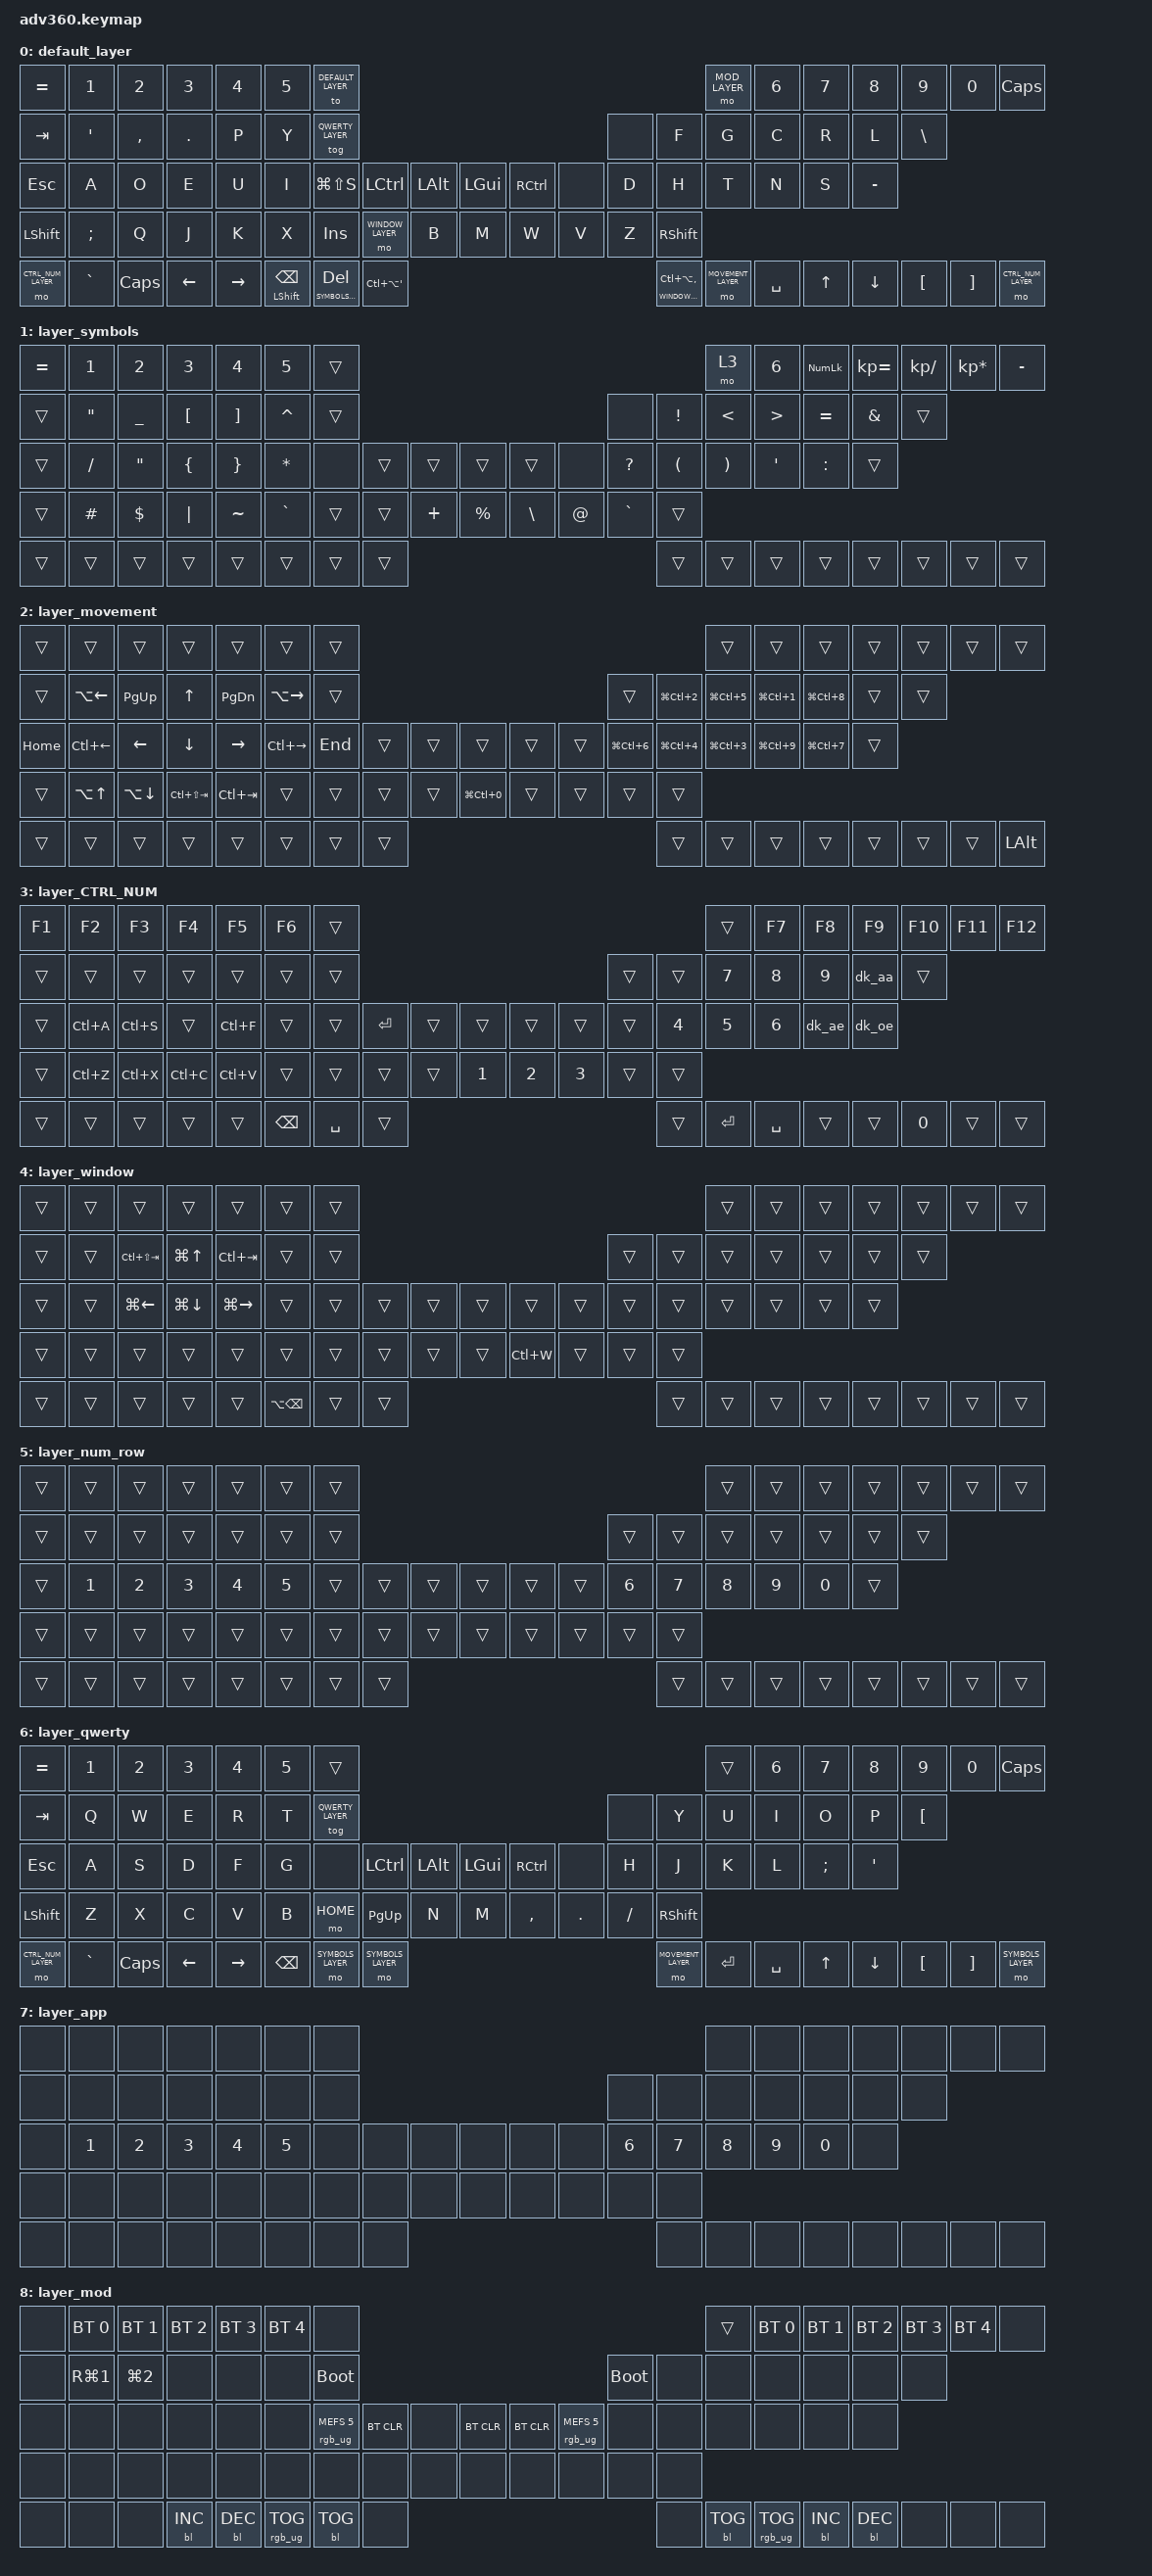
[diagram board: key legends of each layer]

/*
 * Copyright (c) 2020 The ZMK Contributors
 *
 * SPDX-License-Identifier: MIT
 */


/* THIS FILE WAS GENERATED!
 *
 * This file was generated automatically. You may or may not want to
 * edit it directly.
 */

#include <behaviors.dtsi>
#include <dt-bindings/zmk/keys.h>
#include <dt-bindings/zmk/bt.h>
#include <dt-bindings/zmk/rgb.h>
#include <dt-bindings/zmk/stp.h>
#include <dt-bindings/zmk/backlight.h>
#include <dt-bindings/zmk/pointing.h>
#include "helper.h"
#include "danish.dtsi"

#define DEFAULT_LAYER 0
#define SYMBOLS_LAYER 1
#define MOVEMENT_LAYER 2
#define CTRL_NUM_LAYER 3
#define WINDOW_LAYER 4
#define NUM_ROW_LAYER 5
#define QWERTY_LAYER 6
#define APP_LAYER 7
#define MOD_LAYER 8
/ {
    macros {
        uni_ae: uni_ae {
            label = "uni_ae";
            compatible = "zmk,behavior-macro";
            #binding-cells = <0>;
            bindings
                = <&macro_press   &kp LALT>
                , <&macro_tap     &kp KP_N1 &kp KP_N4 &kp KP_N5>
                , <&macro_release &kp LALT>
                ;
        };
        layer_with_modifier: layer_with_modifier {
            label = "layer_with_modifier";
            compatible = "zmk,behavior-macro";
            #binding-cells = <0>;
            wait-ms = <0>;
            bindings
                = <&macro_press   &mo APP_LAYER &kp LWIN>
                , <&macro_pause_for_release>
                , <&macro_release &mo APP_LAYER &kp LWIN>
                ;
        };
    };
    behaviors {
      #include "macros.dtsi"
      #include "version.dtsi"

        hm: homerow_mods {
            compatible = "zmk,behavior-hold-tap";
            label = "HOMEROW_MODS";
            #binding-cells = <2>;
            tapping-term-ms = <200>;
            quick-tap-ms = <150>;
            flavor = "hold-preferred";
            bindings = <&kp>, <&kp>;
        };

        slt: short_layer_tap {
            compatible = "zmk,behavior-hold-tap";
            label = "SHORT_LAYER_TAP";
            #binding-cells = <2>;
            tapping-term-ms = <150>;
            quick-tap-ms = <250>;
            flavor = "hold-preferred";
            bindings = <&mo>, <&kp>;
        };
        llt: layer_tap {
            compatible = "zmk,behavior-hold-tap";
            label = "LONG_LAYER_TAP";
            #binding-cells = <2>;
            tapping-term-ms = <150>;
            quick-tap-ms = <125>;
            flavor = "tap-preferred";
            bindings = <&mo>, <&kp>;
        };
    };

    combos {
        compatible = "zmk,combos";
        combo_enter {
            timeout-ms = <50>;
            key-positions = <55 56>;
            bindings = <&kp ENTER>;
        };
        combo_ctrl_backspace {
            timeout-ms = <50>;
            key-positions = <49 50>;
            bindings = <&kp LC(BSPC)>;
        };
    };

    keymap {
        compatible = "zmk,keymap";


        default_layer {
            bindings = <
    &kp EQUAL   &kp N1     &kp N2     &kp N3    &kp N4     &kp N5              &to DEFAULT_LAYER                                                     &mo MOD_LAYER   &kp N6  &kp N7     &kp N8    &kp N9    &kp N0    &kp CAPS
    &kp TAB     &kp SQT    &kp COMMA  &kp DOT   &kp P      &kp Y               &tog QWERTY_LAYER                                                     &none   &kp F   &kp G      &kp C     &kp R     &kp L     &kp BSLH
    &kp ESC     &kp A      &kp O      &kp E     &kp U      &kp I               &kp LG(LS(S))      &kp LCTRL  &kp LALT  &kp LGUI   &kp RCTRL  &none   &kp D   &kp H      &kp T     &kp N     &kp S     &kp MINUS
    &kp LSHFT   &kp SEMI   &kp Q      &kp J     &kp K      &kp X                    &kp INSERT   &mo WINDOW_LAYER     &kp B   &kp M      &kp W     &kp V     &kp Z     &kp RSHFT
    &mo CTRL_NUM_LAYER       &kp GRAVE  &kp CAPS   &kp LEFT  &kp RIGHT         &hm LSHFT BSPC   &slt SYMBOLS_LAYER DEL    &kp LC(LA(SQT))          &slt WINDOW_LAYER LC(LA(COMMA))  &mo MOVEMENT_LAYER  &kp SPACE           &kp UP     &kp DOWN  &kp LBKT  &kp RBKT  &mo CTRL_NUM_LAYER
            >;
        };

        layer_symbols {
            bindings = <
 &kp EQUAL &kp N1     &kp N2     &kp N3     &kp N4  &kp N5                  &trans                                                                 &mo 3  &kp N6  &kp KP_NUM  &kp KP_EQUAL  &kp KP_DIVIDE  &kp KP_MULTIPLY  &kp MINUS
 &trans    &kp DQT    &kp UNDER  &kp LBKT   &kp RBKT   &kp CARET            &trans                                                   &none  &kp EXCL  &kp LT  &kp GT   &kp EQUAL   &kp AMPS   &trans
 &trans    &kp FSLH   &kp DQT    &kp LBRC   &kp RBRC   &kp STAR             &none   &trans  &trans   &trans  &trans   &none  &kp QMARK  &kp LPAR   &kp RPAR   &kp SQT   &kp COLON   &trans
 &trans    &kp HASH   &kp DOLLAR &kp PIPE   &kp TILDE  &kp GRAVE              &trans  &trans     &kp PLUS  &kp PERCENT  &kp BSLH   &kp AT   &kp GRAVE   &trans
 &trans    &trans  &trans     &trans     &trans                          &trans  &trans  &trans                  &trans  &trans  &trans          &trans  &trans   &trans   &trans   &trans
            >;
        };

        layer_movement {
            bindings = <
 &trans         &trans  &trans  &trans  &trans  &trans                     &trans                                                  &trans    &trans  &trans  &trans    &trans  &trans  &trans
 &trans         &kp LA(LEFT)  &kp PG_UP  &kp UP  &kp PG_DN  &kp LA(RIGHT)               &trans                                                  &trans    &kp LG(LC(N2))     &kp LG(LC(N5))    &kp LG(LC(N1))  &kp LG(LC(N8))   &trans   &trans
 &kp HOME  &kp LC(LEFT) &kp LEFT  &kp DOWN  &kp RIGHT  &kp LC(RIGHT)       &kp END    &trans  &trans   &trans  &trans  &trans &kp LG(LC(N6))  &kp LG(LC(N4))  &kp LG(LC(N3)) &kp LG(LC(N9))  &kp LG(LC(N7))  &trans
 &trans         &kp LA(UP)  &kp LA(DOWN)  &kp LC(LS(TAB))  &kp LC(TAB)  &trans                       &trans   &trans    &trans  &kp LG(LC(N0))  &trans  &trans  &trans  &trans
 &trans         &trans  &trans  &trans  &trans                &trans  &trans  &trans                  &trans  &trans  &trans             &trans     &trans  &trans  &trans  &kp LALT
            >;
        };

        layer_CTRL_NUM {
            bindings = <
 &kp F1         &kp F2    &kp F3     &kp F4     &kp F5     &kp F6            &trans                                                  &trans  &kp F7     &kp F8     &kp F9      &kp F10   &kp F11   &kp F12
 &trans         &trans    &trans     &trans     &trans     &trans            &trans                                                  &trans  &trans  &kp N7  &kp N8  &kp N9  &dk_aa  &trans
 &trans         &kp LC(A) &kp LC(S)  &trans     &kp LC(F)  &trans            &trans  &kp ENTER  &trans   &trans  &trans  &trans  &trans  &kp N4  &kp N5  &kp N6  &dk_ae  &dk_oe
 &trans         &kp LC(Z) &kp LC(X)  &kp LC(C)  &kp LC(V)  &trans              &trans  &trans    &trans  &kp N1  &kp N2  &kp N3  &trans  &trans
 &trans         &trans  &trans  &trans  &trans                               &kp BSPC  &kp SPACE  &trans                  &trans  &kp ENTER  &kp SPACE          &trans  &trans  &kp N0  &trans  &trans
            >;
        };


    layer_window {
            bindings = <
 &trans         &trans  &trans  &trans     &trans     &trans            &trans                                                  &trans  &trans     &trans     &trans      &trans   &trans   &trans
 &trans         &trans  &kp LC(LS(TAB))  &kp LG(UP)     &kp LC(TAB)     &trans            &trans                                                  &trans  &trans  &trans  &trans  &trans  &trans  &trans
 &trans         &trans   &kp LG(LEFT)   &kp LG(DOWN)     &kp LG(RIGHT)  &trans            &trans  &trans  &trans    &trans  &trans  &trans  &trans  &trans  &trans  &trans  &trans  &trans
 &trans         &trans  &trans  &trans  &trans  &trans             &trans  &trans     &trans  &trans  &kp LC(W)  &trans  &trans  &trans
 &trans         &trans  &trans  &trans  &trans                               &kp LA(BSPC)  &trans  &trans                  &trans  &trans  &trans          &trans  &trans  &trans  &trans  &trans
            >;
        };

        layer_num_row {
            bindings = <
 &trans         &trans  &trans  &trans     &trans     &trans            &trans                                                  &trans  &trans     &trans     &trans      &trans   &trans   &trans
 &trans         &trans  &trans  &trans     &trans     &trans            &trans                                                  &trans  &trans  &trans  &trans  &trans  &trans  &trans
 &trans         &kp N1   &kp N2   &kp N3     &kp N4  &kp N5            &trans  &trans  &trans    &trans  &trans  &trans  &kp N6  &kp N7  &kp N8  &kp N9  &kp N0  &trans
 &trans         &trans  &trans  &trans  &trans  &trans             &trans  &trans     &trans  &trans  &trans  &trans  &trans  &trans
 &trans         &trans  &trans  &trans  &trans                               &trans  &trans  &trans                  &trans  &trans  &trans          &trans  &trans  &trans  &trans  &trans
            >;
        };

    layer_qwerty {
            bindings = <
    &kp EQUAL   &kp N1     &kp N2     &kp N3    &kp N4     &kp N5              &trans                                                                &trans   &kp N6  &kp N7     &kp N8    &kp N9    &kp N0    &kp CAPS
    &kp TAB     &kp Q      &kp W      &kp E     &kp R      &kp T               &tog QWERTY_LAYER                                                                &none   &kp Y   &kp U      &kp I     &kp O     &kp P     &kp LBKT
    &kp ESC     &kp A      &kp S      &kp D     &kp F      &kp G               &none      &kp LCTRL  &kp LALT  &kp LGUI   &kp RCTRL  &none   &kp H   &kp J      &kp K     &kp L     &kp SEMI  &kp SQT
    &kp LSHFT   &kp Z      &kp X      &kp C     &kp V      &kp B                     &mo HOME  &kp PG_UP     &kp N   &kp M      &kp COMMA &kp DOT   &kp SLASH &kp RSHFT
    &mo CTRL_NUM_LAYER   &kp GRAVE  &kp CAPS   &kp LEFT  &kp RIGHT                          &kp BSPC   &mo SYMBOLS_LAYER    &mo SYMBOLS_LAYER                     &mo MOVEMENT_LAYER  &kp ENTER  &kp SPACE           &kp UP     &kp DOWN  &kp LBKT  &kp RBKT  &mo SYMBOLS_LAYER
            >;
        };


    layer_app {
                bindings = <
    &none         &none  &none  &none  &none  &none                     &none                                                    &none  &none  &none     &none     &none  &none  &none
    &none         &none  &none  &none  &none  &none                     &none                                                    &none  &none  &none  &none  &none  &none  &none
    &none         &kp N1  &kp N2  &kp N3  &kp N4  &kp N5                     &none    &none  &none   &none  &none  &none  &kp N6  &kp N7  &kp N8  &kp N9   &kp N0  &none
    &none         &none  &none  &none  &none  &none                       &none  &none     &none  &none  &none  &none  &none  &none
    &none         &none  &none  &none  &none                             &none    &none  &none                  &none  &none  &none          &none     &none  &none  &none  &none
            >;
        };

        layer_mod {
            bindings = <
  &none  &bt BT_SEL 0  &bt BT_SEL 1  &bt BT_SEL 2  &bt BT_SEL 3  &bt BT_SEL 4                             &none                                                                              &trans  &bt BT_SEL 0  &bt BT_SEL 1  &bt BT_SEL 2  &bt BT_SEL 3  &bt BT_SEL 4   &none
  &none         &kp RG(N1)     &kp LG(N2)         &none         &none         &none                       &bootloader                                                                         &bootloader         &none         &none         &none         &none         &none   &none
  &none         &none         &none         &none         &none         &none            &rgb_ug RGB_MEFS_CMD 5  &bt BT_CLR   &none     &bt BT_CLR  &bt BT_CLR  &rgb_ug RGB_MEFS_CMD 5         &none         &none         &none         &none         &none   &none
  &none         &none         &none         &none         &none         &none                                &none     &none                &none         &none         &none         &none         &none   &none
  &none         &none         &none    &bl BL_INC    &bl BL_DEC                                 &rgb_ug RGB_TOG  &bl BL_TOG   &none                       &none  &bl BL_TOG         &rgb_ug RGB_TOG                  &bl BL_INC    &bl BL_DEC         &none         &none   &none            
            >;
        };

    };
};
